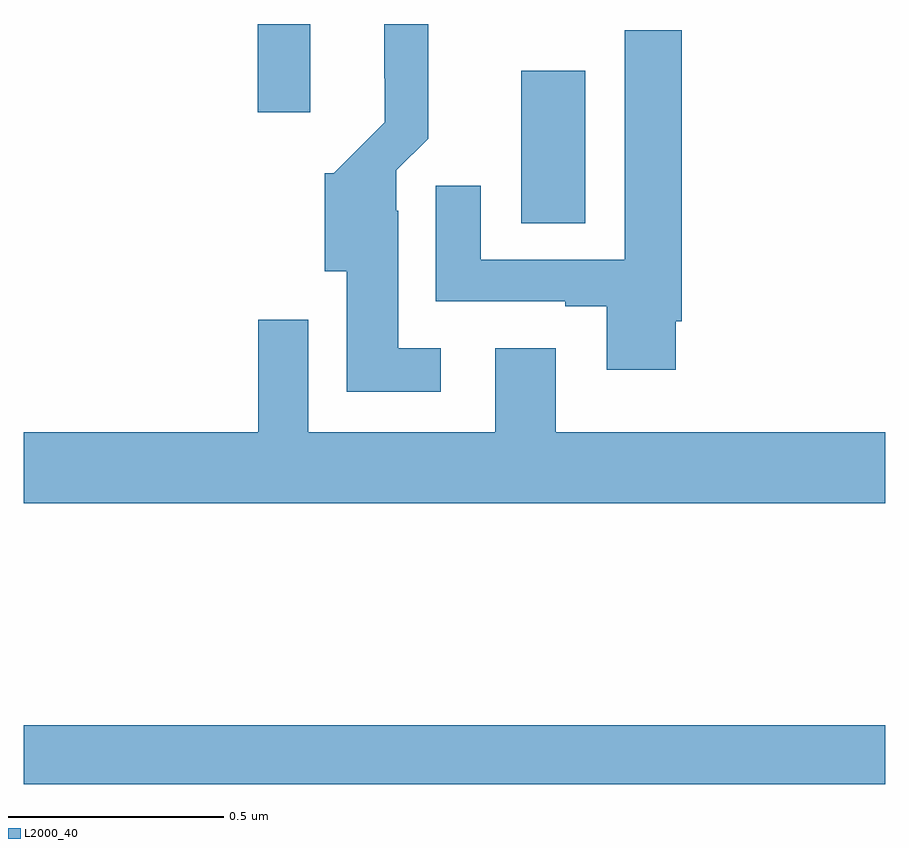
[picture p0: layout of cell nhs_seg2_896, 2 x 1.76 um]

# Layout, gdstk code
import gdstk
lib = gdstk.Library(unit=1e-6, precision=1e-09)
def R(c, l, rs):  # rectangles x0, y0, x1, y1
    for r in rs: c.add(gdstk.rectangle(r[:2], r[2:], *l))
def P(c, l, *ps):  # polygons
    for p in ps: c.add(gdstk.Polygon(p, *l))
L2000_40 = (2000, 40)

nhs_seg2_896 = lib.new_cell('nhs_seg2_896')
R(nhs_seg2_896, L2000_40, [(122,595.036,124,595.172), (123.155,596.338,123.304,596.692), (122.543,596.595,122.665,596.8)])
P(nhs_seg2_896, L2000_40, [(122.968,596.047),(122.869,596.047),(122.869,596.366),(122.865,596.366),(122.865,596.46),(122.939,596.534),(122.939,596.8),(122.837,596.8),(122.837,596.674),(122.838,596.674),(122.838,596.572),(122.72,596.454),(122.699,596.454),(122.699,596.226),(122.75,596.226),(122.75,595.946),(122.968,595.946)],
  [(123.514,596.11),(123.527,596.11),(123.527,596.785),(123.395,596.785),(123.395,596.253),(123.061,596.253),(123.061,596.425),(122.957,596.425),(122.957,596.157),(123.257,596.157),(123.257,596.145),(123.353,596.145),(123.353,595.998),(123.514,595.998)],
  [(124,595.852),(123.235,595.852),(123.235,596.047),(123.095,596.047),(123.095,595.852),(122.661,595.852),(122.661,596.113),(122.545,596.113),(122.545,595.852),(122,595.852),(122,595.688),(124,595.688)])

lib.write_gds('nhs_seg2_896.gds')
